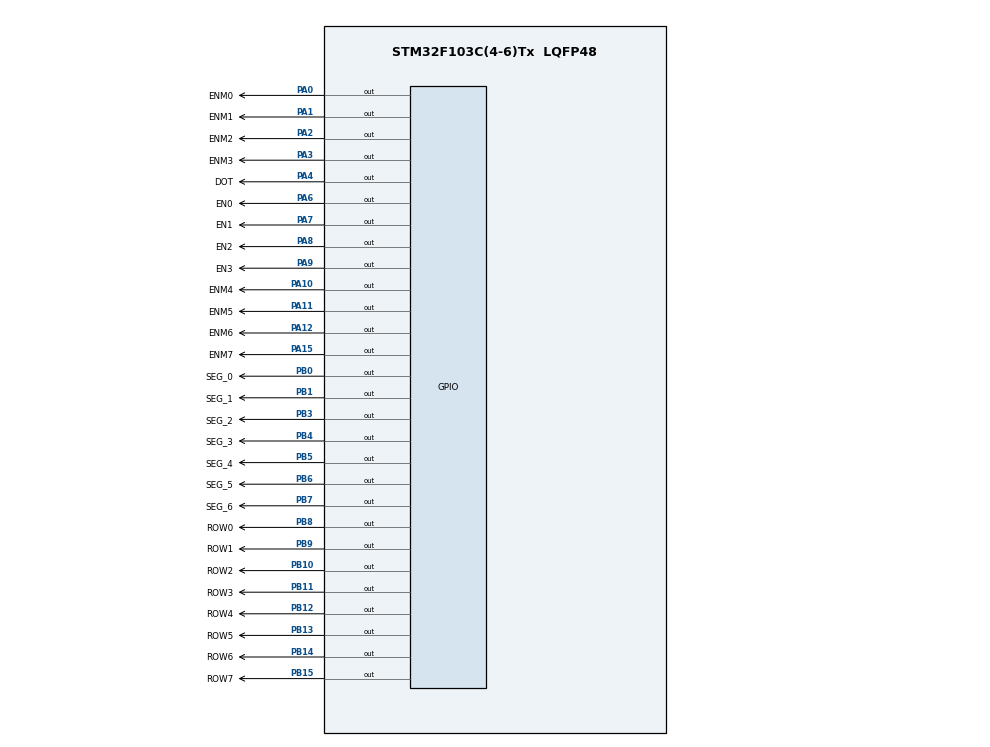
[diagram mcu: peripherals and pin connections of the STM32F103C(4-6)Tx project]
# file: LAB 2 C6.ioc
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Mcu.Family=STM32F1
Mcu.Name=STM32F103C(4-6)Tx
Mcu.Package=LQFP48
NVIC.PriorityGroup=NVIC_PRIORITYGROUP_4
NVIC.TIM2_IRQn=true\:0\:0\:false\:false\:true\:true\:true\:true
PA0-WKUP.GPIO_Label=ENM0
PA0-WKUP.Signal=GPIO_Output
PA1.GPIO_Label=ENM1
PA1.Signal=GPIO_Output
PA10.GPIO_Label=ENM4
PA10.Signal=GPIO_Output
PA11.GPIO_Label=ENM5
PA11.Signal=GPIO_Output
PA12.GPIO_Label=ENM6
PA12.Signal=GPIO_Output
PA13.Mode=Serial_Wire
PA13.Signal=SYS_JTMS-SWDIO
PA14.Mode=Serial_Wire
PA14.Signal=SYS_JTCK-SWCLK
PA15.GPIO_Label=ENM7
PA15.Signal=GPIO_Output
PA2.GPIO_Label=ENM2
PA2.Signal=GPIO_Output
PA3.GPIO_Label=ENM3
PA3.Signal=GPIO_Output
PA4.GPIO_Label=DOT
PA4.Signal=GPIO_Output
PA6.GPIO_Label=EN0
PA6.Signal=GPIO_Output
PA7.GPIO_Label=EN1
PA7.Signal=GPIO_Output
PA8.GPIO_Label=EN2
PA8.Signal=GPIO_Output
PA9.GPIO_Label=EN3
PA9.Signal=GPIO_Output
PB0.GPIO_Label=SEG_0
PB0.PinState=GPIO_PIN_RESET
PB0.Signal=GPIO_Output
PB1.GPIO_Label=SEG_1
PB1.PinState=GPIO_PIN_RESET
PB1.Signal=GPIO_Output
PB10.GPIO_Label=ROW2
PB10.Signal=GPIO_Output
PB11.GPIO_Label=ROW3
PB11.Signal=GPIO_Output
PB12.GPIO_Label=ROW4
PB12.Signal=GPIO_Output
PB13.GPIO_Label=ROW5
PB13.Signal=GPIO_Output
PB14.GPIO_Label=ROW6
PB14.Signal=GPIO_Output
PB15.GPIO_Label=ROW7
PB15.Signal=GPIO_Output
PB3.GPIO_Label=SEG_2
PB3.PinState=GPIO_PIN_RESET
PB3.Signal=GPIO_Output
PB4.GPIO_Label=SEG_3
PB4.PinState=GPIO_PIN_RESET
PB4.Signal=GPIO_Output
PB5.GPIO_Label=SEG_4
PB5.PinState=GPIO_PIN_RESET
PB5.Signal=GPIO_Output
PB6.GPIO_Label=SEG_5
PB6.PinState=GPIO_PIN_RESET
PB6.Signal=GPIO_Output
PB7.GPIO_Label=SEG_6
PB7.PinState=GPIO_PIN_RESET
PB7.Signal=GPIO_Output
PB8.GPIO_Label=ROW0
PB8.Signal=GPIO_Output
PB9.GPIO_Label=ROW1
PB9.Signal=GPIO_Output
PD0-OSC_IN.Mode=HSE-External-Oscillator
PD0-OSC_IN.Signal=RCC_OSC_IN
PD1-OSC_OUT.Mode=HSE-External-Oscillator
PD1-OSC_OUT.Signal=RCC_OSC_OUT
ProjectManager.HeapSize=0x200
ProjectManager.StackSize=0x400
ProjectManager.TargetToolchain=STM32CubeIDE
RCC.APB1Freq_Value=8000000
RCC.APB2Freq_Value=8000000
TIM2.Period=9
TIM2.Prescaler=7999
VP_TIM2_VS_ClockSourceINT.Mode=Internal
board=custom

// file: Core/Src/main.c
/* USER CODE BEGIN Header */
/**
  ******************************************************************************
  * @file           : main.c
  * @brief          : Main program body
  ******************************************************************************
  * @attention
  *
  * Copyright (c) 2024 STMicroelectronics.
  * All rights reserved.
  *
  * This software is licensed under terms that can be found in the LICENSE file
  * in the root directory of this software component.
  * If no LICENSE file comes with this software, it is provided AS-IS.
  *
  ******************************************************************************
  */
/* USER CODE END Header */
#include "main.h"

/* USER CODE BEGIN Includes */
#include "software_timer.h"
/* USER CODE END Includes */

TIM_HandleTypeDef htim2;

/* USER CODE BEGIN PV */
int led_buffer[4] = {1, 2, 3, 4};
const int MAX_LED = 4;
int index_led = 0;
/* USER CODE END PV */

void SystemClock_Config(void);
static void MX_GPIO_Init(void);
static void MX_TIM2_Init(void);

int main(void)
{

  /* MCU Configuration--------------------------------------------------------*/

  /* Reset of all peripherals, Initializes the Flash interface and the Systick. */
  HAL_Init();

  /* Configure the system clock */
  SystemClock_Config();

  /* Initialize all configured peripherals */
  MX_GPIO_Init();
  MX_TIM2_Init();
  /* USER CODE BEGIN 2 */
HAL_TIM_Base_Start_IT(&htim2);
  /* USER CODE END 2 */

  /* Infinite loop */
  /* USER CODE BEGIN WHILE */

int hour = 15, minute = 8, second = 50;
void updateClockBuffer()
{
    // Update hàng chục và hàng đơn vị của giờ
    led_buffer[0] = hour / 10;  // Lấy chữ số hàng chục của giờ
    led_buffer[1] = hour % 10;  // Lấy chữ số hàng đơn vị của giờ

    // Update hàng chục và hàng đơn vị của phút
    led_buffer[2] = minute / 10;  // Lấy chữ số hàng chục của phút
    led_buffer[3] = minute % 10;  // Lấy chữ số hàng đơn vị của phút
}

void off_all_SEG(void) {
    HAL_GPIO_WritePin(GPIOB, SEG_0_Pin, GPIO_PIN_SET);
    HAL_GPIO_WritePin(GPIOB, SEG_1_Pin, GPIO_PIN_SET);
    HAL_GPIO_WritePin(GPIOB, SEG_2_Pin, GPIO_PIN_SET);
    HAL_GPIO_WritePin(GPIOB, SEG_3_Pin, GPIO_PIN_SET);
    HAL_GPIO_WritePin(GPIOB, SEG_4_Pin, GPIO_PIN_SET);
    HAL_GPIO_WritePin(GPIOB, SEG_5_Pin, GPIO_PIN_SET);
    HAL_GPIO_WritePin(GPIOB, SEG_6_Pin, GPIO_PIN_SET);
}
// Function to display a number on the 7-segment display
  void display7SEG(int num) {
    if (num < 0 || num > 9) return; // Ensure the number is between 0 and 9
    switch (num) {
        case 0:
            HAL_GPIO_WritePin(GPIOB, SEG_0_Pin, GPIO_PIN_RESET);
            HAL_GPIO_WritePin(GPIOB, SEG_1_Pin, GPIO_PIN_RESET);
            HAL_GPIO_WritePin(GPIOB, SEG_2_Pin, GPIO_PIN_RESET);
            HAL_GPIO_WritePin(GPIOB, SEG_3_Pin, GPIO_PIN_RESET);
            HAL_GPIO_WritePin(GPIOB, SEG_4_Pin, GPIO_PIN_RESET);
            HAL_GPIO_WritePin(GPIOB, SEG_5_Pin, GPIO_PIN_RESET);
            HAL_GPIO_WritePin(GPIOB, SEG_6_Pin, GPIO_PIN_SET);
            break;
        case 1:
            HAL_GPIO_WritePin(GPIOB, SEG_0_Pin, GPIO_PIN_SET);
            HAL_GPIO_WritePin(GPIOB, SEG_1_Pin, GPIO_PIN_RESET);
            HAL_GPIO_WritePin(GPIOB, SEG_2_Pin, GPIO_PIN_RESET);
            HAL_GPIO_WritePin(GPIOB, SEG_3_Pin, GPIO_PIN_SET);
            HAL_GPIO_WritePin(GPIOB, SEG_4_Pin, GPIO_PIN_SET);
            HAL_GPIO_WritePin(GPIOB, SEG_5_Pin, GPIO_PIN_SET);
            HAL_GPIO_WritePin(GPIOB, SEG_6_Pin, GPIO_PIN_SET);
            break;
        case 2:
            HAL_GPIO_WritePin(GPIOB, SEG_0_Pin, GPIO_PIN_RESET);
            HAL_GPIO_WritePin(GPIOB, SEG_1_Pin, GPIO_PIN_RESET);
            HAL_GPIO_WritePin(GPIOB, SEG_2_Pin, GPIO_PIN_SET);
            HAL_GPIO_WritePin(GPIOB, SEG_3_Pin, GPIO_PIN_RESET);
            HAL_GPIO_WritePin(GPIOB, SEG_4_Pin, GPIO_PIN_RESET);
            HAL_GPIO_WritePin(GPIOB, SEG_5_Pin, GPIO_PIN_SET);
            HAL_GPIO_WritePin(GPIOB, SEG_6_Pin, GPIO_PIN_RESET);
            break;
        case 3:
            HAL_GPIO_WritePin(GPIOB, SEG_0_Pin, GPIO_PIN_RESET);
            HAL_GPIO_WritePin(GPIOB, SEG_1_Pin, GPIO_PIN_RESET);
            HAL_GPIO_WritePin(GPIOB, SEG_2_Pin, GPIO_PIN_RESET);
            HAL_GPIO_WritePin(GPIOB, SEG_3_Pin, GPIO_PIN_RESET);
            HAL_GPIO_WritePin(GPIOB, SEG_4_Pin, GPIO_PIN_SET);
            HAL_GPIO_WritePin(GPIOB, SEG_5_Pin, GPIO_PIN_SET);
            HAL_GPIO_WritePin(GPIOB, SEG_6_Pin, GPIO_PIN_RESET);
            break;
        case 4:
            HAL_GPIO_WritePin(GPIOB, SEG_0_Pin, GPIO_PIN_SET);
            HAL_GPIO_WritePin(GPIOB, SEG_1_Pin, GPIO_PIN_RESET);
            HAL_GPIO_WritePin(GPIOB, SEG_2_Pin, GPIO_PIN_RESET);
            HAL_GPIO_WritePin(GPIOB, SEG_3_Pin, GPIO_PIN_SET);
            HAL_GPIO_WritePin(GPIOB, SEG_4_Pin, GPIO_PIN_SET);
            HAL_GPIO_WritePin(GPIOB, SEG_5_Pin, GPIO_PIN_RESET);
            HAL_GPIO_WritePin(GPIOB, SEG_6_Pin, GPIO_PIN_RESET);
            break;
        case 5:
            HAL_GPIO_WritePin(GPIOB, SEG_0_Pin, GPIO_PIN_RESET);
            HAL_GPIO_WritePin(GPIOB, SEG_1_Pin, GPIO_PIN_SET);
            HAL_GPIO_WritePin(GPIOB, SEG_2_Pin, GPIO_PIN_RESET);
            HAL_GPIO_WritePin(GPIOB, SEG_3_Pin, GPIO_PIN_RESET);
            HAL_GPIO_WritePin(GPIOB, SEG_4_Pin, GPIO_PIN_SET);
            HAL_GPIO_WritePin(GPIOB, SEG_5_Pin, GPIO_PIN_RESET);
            HAL_GPIO_WritePin(GPIOB, SEG_6_Pin, GPIO_PIN_RESET);
            break;
        case 6:
            HAL_GPIO_WritePin(GPIOB, SEG_0_Pin, GPIO_PIN_RESET);
            HAL_GPIO_WritePin(GPIOB, SEG_1_Pin, GPIO_PIN_SET);
            HAL_GPIO_WritePin(GPIOB, SEG_2_Pin, GPIO_PIN_RESET);
            HAL_GPIO_WritePin(GPIOB, SEG_3_Pin, GPIO_PIN_RESET);
            HAL_GPIO_WritePin(GPIOB, SEG_4_Pin, GPIO_PIN_RESET);
            HAL_GPIO_WritePin(GPIOB, SEG_5_Pin, GPIO_PIN_RESET);
            HAL_GPIO_WritePin(GPIOB, SEG_6_Pin, GPIO_PIN_RESET);
            break;
        case 7:
            HAL_GPIO_WritePin(GPIOB, SEG_0_Pin, GPIO_PIN_RESET);
            HAL_GPIO_WritePin(GPIOB, SEG_1_Pin, GPIO_PIN_RESET);
            HAL_GPIO_WritePin(GPIOB, SEG_2_Pin, GPIO_PIN_RESET);
            HAL_GPIO_WritePin(GPIOB, SEG_3_Pin, GPIO_PIN_SET);
            HAL_GPIO_WritePin(GPIOB, SEG_4_Pin, GPIO_PIN_SET);
            HAL_GPIO_WritePin(GPIOB, SEG_5_Pin, GPIO_PIN_SET);
            HAL_GPIO_WritePin(GPIOB, SEG_6_Pin, GPIO_PIN_SET);
            break;
        case 8:
            HAL_GPIO_WritePin(GPIOB, SEG_0_Pin, GPIO_PIN_RESET);
            HAL_GPIO_WritePin(GPIOB, SEG_1_Pin, GPIO_PIN_RESET);
            HAL_GPIO_WritePin(GPIOB, SEG_2_Pin, GPIO_PIN_RESET);
            HAL_GPIO_WritePin(GPIOB, SEG_3_Pin, GPIO_PIN_RESET);
            HAL_GPIO_WritePin(GPIOB, SEG_4_Pin, GPIO_PIN_RESET);
            HAL_GPIO_WritePin(GPIOB, SEG_5_Pin, GPIO_PIN_RESET);
            HAL_GPIO_WritePin(GPIOB, SEG_6_Pin, GPIO_PIN_RESET);
            break;
        case 9:
            HAL_GPIO_WritePin(GPIOB, SEG_0_Pin, GPIO_PIN_RESET);
            HAL_GPIO_WritePin(GPIOB, SEG_1_Pin, GPIO_PIN_RESET);
            HAL_GPIO_WritePin(GPIOB, SEG_2_Pin, GPIO_PIN_RESET);
            HAL_GPIO_WritePin(GPIOB, SEG_3_Pin, GPIO_PIN_RESET);
            HAL_GPIO_WritePin(GPIOB, SEG_4_Pin, GPIO_PIN_SET);
            HAL_GPIO_WritePin(GPIOB, SEG_5_Pin, GPIO_PIN_RESET);
            HAL_GPIO_WritePin(GPIOB, SEG_6_Pin, GPIO_PIN_RESET);
            break;
        default:
            // Handle invalid input
            break;
    }
  }

  // Function to turn on a specific LED and turn off the rest
  void turnonlyLED(int index) {
      // Turn off all LEDs first
      HAL_GPIO_WritePin(GPIOA, EN0_Pin, GPIO_PIN_SET);
      HAL_GPIO_WritePin(GPIOA, EN1_Pin, GPIO_PIN_SET);
      HAL_GPIO_WritePin(GPIOA, EN2_Pin, GPIO_PIN_SET);
      HAL_GPIO_WritePin(GPIOA, EN3_Pin, GPIO_PIN_SET);

      // Turn on the specified LED based on the index
      switch (index) {
          case 0:
              HAL_GPIO_WritePin(GPIOA, EN0_Pin, GPIO_PIN_RESET);
              break;
          case 1:
              HAL_GPIO_WritePin(GPIOA, EN1_Pin, GPIO_PIN_RESET);
              break;
          case 2:
              HAL_GPIO_WritePin(GPIOA, EN2_Pin, GPIO_PIN_RESET);
              break;
          case 3:
              HAL_GPIO_WritePin(GPIOA, EN3_Pin, GPIO_PIN_RESET);
              break;
          default:
              // Handle invalid index
              break;
      }
  }

  void update7SEG(int index) {
      switch (index) {
          case 0:
              // Display the first 7SEG with led_buffer[0]
              display7SEG(led_buffer[0]);
              turnonlyLED(0);
              break;
          case 1:
              // Display the second 7SEG with led_buffer[1]
              display7SEG(led_buffer[1]);
              turnonlyLED(1);
              break;
          case 2:
              // Display the third 7SEG with led_buffer[2]
              display7SEG(led_buffer[2]);
              turnonlyLED(2);
              break;
          case 3:
              // Display the fourth 7SEG with led_buffer[3]
              display7SEG(led_buffer[3]);
              turnonlyLED(3);
              break;
          default:
              break;
      }
  }

setTimer0(1000);
setTimer1(250);
setTimer2(1000);
while (1)
  {

    if(timer0_flag == 1){
      setTimer0(1000); //set counter() and reset timer0_flag
      second++;
      if (second >= 60)
      {
        second = 0;
        minute++;
      }
      if (minute >= 60)
      {
        minute = 0;
        hour++;
      }
      if (hour >= 24)
      {
        hour = 0;
      }
      HAL_GPIO_TogglePin(GPIOA, DOT_Pin);
    }
    updateClockBuffer();

      if(timer1_flag == 1){
        setTimer1(250);
      update7SEG(index_led);
      index_led = (index_led + 1) % MAX_LED;
      }

//      if(timer2_flag == 1){
//        setTimer2(1000);
//
//
//      }

    /* USER CODE END WHILE */

  }
}

void SystemClock_Config(void)
{
  RCC_OscInitTypeDef RCC_OscInitStruct = {0};
  RCC_ClkInitTypeDef RCC_ClkInitStruct = {0};

  /** Initializes the RCC Oscillators according to the specified parameters
  * in the RCC_OscInitTypeDef structure.
  */
  RCC_OscInitStruct.OscillatorType = RCC_OSCILLATORTYPE_HSI;
  RCC_OscInitStruct.HSIState = RCC_HSI_ON;
  RCC_OscInitStruct.HSICalibrationValue = RCC_HSICALIBRATION_DEFAULT;
  RCC_OscInitStruct.PLL.PLLState = RCC_PLL_NONE;
  if (HAL_RCC_OscConfig(&RCC_OscInitStruct) != HAL_OK)
  {
    Error_Handler();
  }

  /** Initializes the CPU, AHB and APB buses clocks
  */
  RCC_ClkInitStruct.ClockType = RCC_CLOCKTYPE_HCLK|RCC_CLOCKTYPE_SYSCLK
                              |RCC_CLOCKTYPE_PCLK1|RCC_CLOCKTYPE_PCLK2;
  RCC_ClkInitStruct.SYSCLKSource = RCC_SYSCLKSOURCE_HSI;
  RCC_ClkInitStruct.AHBCLKDivider = RCC_SYSCLK_DIV1;
  RCC_ClkInitStruct.APB1CLKDivider = RCC_HCLK_DIV1;
  RCC_ClkInitStruct.APB2CLKDivider = RCC_HCLK_DIV1;

  if (HAL_RCC_ClockConfig(&RCC_ClkInitStruct, FLASH_LATENCY_0) != HAL_OK)
  {
    Error_Handler();
  }
}

static void MX_TIM2_Init(void)
{

  TIM_ClockConfigTypeDef sClockSourceConfig = {0};
  TIM_MasterConfigTypeDef sMasterConfig = {0};

  htim2.Instance = TIM2;
  htim2.Init.Prescaler = 7999;
  htim2.Init.CounterMode = TIM_COUNTERMODE_UP;
  htim2.Init.Period = 9;
  htim2.Init.ClockDivision = TIM_CLOCKDIVISION_DIV1;
  htim2.Init.AutoReloadPreload = TIM_AUTORELOAD_PRELOAD_DISABLE;
  if (HAL_TIM_Base_Init(&htim2) != HAL_OK)
  {
    Error_Handler();
  }
  sClockSourceConfig.ClockSource = TIM_CLOCKSOURCE_INTERNAL;
  if (HAL_TIM_ConfigClockSource(&htim2, &sClockSourceConfig) != HAL_OK)
  {
    Error_Handler();
  }
  sMasterConfig.MasterOutputTrigger = TIM_TRGO_RESET;
  sMasterConfig.MasterSlaveMode = TIM_MASTERSLAVEMODE_DISABLE;
  if (HAL_TIMEx_MasterConfigSynchronization(&htim2, &sMasterConfig) != HAL_OK)
  {
    Error_Handler();
  }

}

static void MX_GPIO_Init(void)
{
  GPIO_InitTypeDef GPIO_InitStruct = {0};

  /* GPIO Ports Clock Enable */
  __HAL_RCC_GPIOD_CLK_ENABLE();
  __HAL_RCC_GPIOA_CLK_ENABLE();
  __HAL_RCC_GPIOB_CLK_ENABLE();

  /*Configure GPIO pin Output Level */
  HAL_GPIO_WritePin(GPIOA, DOT_Pin|EN0_Pin|EN1_Pin|EN2_Pin
                          |EN3_Pin, GPIO_PIN_RESET);

  /*Configure GPIO pin Output Level */
  HAL_GPIO_WritePin(GPIOB, SEG_0_Pin|SEG_1_Pin|SEG_2_Pin|SEG_3_Pin
                          |SEG_4_Pin|SEG_5_Pin|SEG_6_Pin, GPIO_PIN_RESET);

  /*Configure GPIO pins : DOT_Pin EN0_Pin EN1_Pin EN2_Pin
                           EN3_Pin */
  GPIO_InitStruct.Pin = DOT_Pin|EN0_Pin|EN1_Pin|EN2_Pin
                          |EN3_Pin;
  GPIO_InitStruct.Mode = GPIO_MODE_OUTPUT_PP;
  GPIO_InitStruct.Pull = GPIO_NOPULL;
  GPIO_InitStruct.Speed = GPIO_SPEED_FREQ_LOW;
  HAL_GPIO_Init(GPIOA, &GPIO_InitStruct);

  /*Configure GPIO pins : SEG_0_Pin SEG_1_Pin SEG_2_Pin SEG_3_Pin
                           SEG_4_Pin SEG_5_Pin SEG_6_Pin */
  GPIO_InitStruct.Pin = SEG_0_Pin|SEG_1_Pin|SEG_2_Pin|SEG_3_Pin
                          |SEG_4_Pin|SEG_5_Pin|SEG_6_Pin;
  GPIO_InitStruct.Mode = GPIO_MODE_OUTPUT_PP;
  GPIO_InitStruct.Pull = GPIO_NOPULL;
  GPIO_InitStruct.Speed = GPIO_SPEED_FREQ_LOW;
  HAL_GPIO_Init(GPIOB, &GPIO_InitStruct);

}

/* USER CODE BEGIN 4 */

  // Timer callback function
void HAL_TIM_PeriodElapsedCallback(TIM_HandleTypeDef *htim) {

      timer_run();
}

// if(counter <= 0){
// 			counter = 100;
// 			HAL_GPIO_WritePin(LED_GPIO_Port, LED_Pin, SET);
// }

/* USER CODE END 4 */

void Error_Handler(void)
{
  __disable_irq();
  while (1)
  {
  }
}
